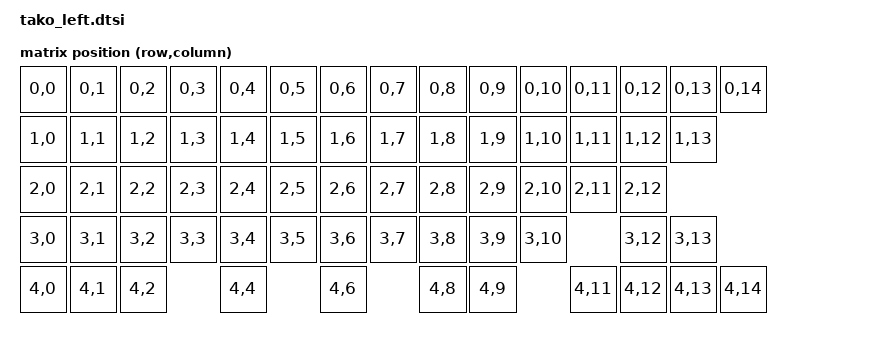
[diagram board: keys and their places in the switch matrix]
/*
 * Copyright (c) 2023 Sviatoslav Bulbakha
 *
 * SPDX-License-Identifier: MIT
 */

#include <dt-bindings/zmk/matrix_transform.h>
#include <physical_layouts.dtsi>

/ {

  chosen {
    //zmk,kscan = <&kscan0>;
    zmk,matrix_transform = &default_transform;
  };

  layout_0: layout_0 {
        compatible = "zmk,physical-layout";
        display-name = "Layout 0";

        keys  //                     w   h    x    y     rot    rx    ry
            = <&key_physical_attrs 100 100  250    0       0     0     0>
            , <&key_physical_attrs 100 100  350    0       0     0     0>
            , <&key_physical_attrs 100 100  450    0       0     0     0>
            , <&key_physical_attrs 100 100  550    0       0     0     0>
            , <&key_physical_attrs 100 100  650    0       0     0     0>
            , <&key_physical_attrs 100 100  750    0       0     0     0>
            , <&key_physical_attrs 100 100  850    0       0     0     0>
            , <&key_physical_attrs 100 100  950    0       0     0     0>
            , <&key_physical_attrs 100 100 1050    0       0     0     0>
            , <&key_physical_attrs 100 100 1150    0       0     0     0>
            , <&key_physical_attrs 100 100 1250    0       0     0     0>
            , <&key_physical_attrs 100 100 1350    0       0     0     0>
            , <&key_physical_attrs 100 100 1450    0       0     0     0>
            , <&key_physical_attrs 100 100 1550    0       0     0     0>
            , <&key_physical_attrs 100 100 1650    0       0     0     0>
            , <&key_physical_attrs 150 100  250  100       0     0     0>
            , <&key_physical_attrs 100 100  400  100       0     0     0>
            , <&key_physical_attrs 100 100  500  100       0     0     0>
            , <&key_physical_attrs 100 100  600  100       0     0     0>
            , <&key_physical_attrs 100 100  700  100       0     0     0>
            , <&key_physical_attrs 100 100  800  100       0     0     0>
            , <&key_physical_attrs 100 100  900  100       0     0     0>
            , <&key_physical_attrs 100 100 1000  100       0     0     0>
            , <&key_physical_attrs 100 100 1100  100       0     0     0>
            , <&key_physical_attrs 100 100 1200  100       0     0     0>
            , <&key_physical_attrs 100 100 1300  100       0     0     0>
            , <&key_physical_attrs 100 100 1400  100       0     0     0>
            , <&key_physical_attrs 100 100 1500  100       0     0     0>
            , <&key_physical_attrs 150 100 1600  100       0     0     0>
            , <&key_physical_attrs 175 100  250  200       0     0     0>
            , <&key_physical_attrs 100 100  425  200       0     0     0>
            , <&key_physical_attrs 100 100  525  200       0     0     0>
            , <&key_physical_attrs 100 100  625  200       0     0     0>
            , <&key_physical_attrs 100 100  725  200       0     0     0>
            , <&key_physical_attrs 100 100  825  200       0     0     0>
            , <&key_physical_attrs 100 100  925  200       0     0     0>
            , <&key_physical_attrs 100 100 1025  200       0     0     0>
            , <&key_physical_attrs 100 100 1125  200       0     0     0>
            , <&key_physical_attrs 100 100 1225  200       0     0     0>
            , <&key_physical_attrs 100 100 1325  200       0     0     0>
            , <&key_physical_attrs 100 100 1425  200       0     0     0>
            , <&key_physical_attrs 225 100 1525  200       0     0     0>
            , <&key_physical_attrs 225 100  250  300       0     0     0>
            , <&key_physical_attrs 100 100  475  300       0     0     0>
            , <&key_physical_attrs 100 100  575  300       0     0     0>
            , <&key_physical_attrs 100 100  675  300       0     0     0>
            , <&key_physical_attrs 100 100  775  300       0     0     0>
            , <&key_physical_attrs 100 100  875  300       0     0     0>
            , <&key_physical_attrs 100 100  975  300       0     0     0>
            , <&key_physical_attrs 100 100 1075  300       0     0     0>
            , <&key_physical_attrs 100 100 1175  300       0     0     0>
            , <&key_physical_attrs 100 100 1275  300       0     0     0>
            , <&key_physical_attrs 100 100 1375  300       0     0     0>
            , <&key_physical_attrs 175 100 1475  300       0     0     0>
            , <&key_physical_attrs 100 100 1650  300       0     0     0>
            , <&key_physical_attrs 150 100  250  400       0     0     0>
            , <&key_physical_attrs 100 100  400  400       0     0     0>
            , <&key_physical_attrs 150 100  500  400       0     0     0>
            , <&key_physical_attrs 300 100  650  400       0     0     0>
            , <&key_physical_attrs 300 100  950  400       0     0     0>
            , <&key_physical_attrs 100 100 1250  400       0     0     0>
            , <&key_physical_attrs 100 100 1350  400       0     0     0>
            , <&key_physical_attrs 100 100 1450  400       0     0     0>
            , <&key_physical_attrs 100 100 1550  400       0     0     0>
            , <&key_physical_attrs 100 100 1650  400       0     0     0>
            ;
    };

    position_map {
        compatible = "zmk,physical-layout-position-map";

        layout_0 {
            physical-layout = <&layout_0>;
            positions
                = < 0  1  2  3  4  5  6  7  8  9 10 11 12 13 14 15>
                , <16 17 18 19 20 21 22 23 24 25 26 27 28>
                , <29 30 31 32 33 34 35 36 37 38 39 40 41>
                , <42 43 44 45 46 47 48 49 50 51 52 53 54>
                , <55 56 57 58 59 60 61 62 63 64>
                ;
        };
  };

  default_transform: keymap_transform_0 {
    compatible = "zmk,matrix-transform";
    columns = <15>;
    rows = <5>;
    map = <
    RC(0,0) RC(0,1) RC(0,2) RC(0,3) RC(0,4) RC(0,5) RC(0,6) RC(0,7) RC(0,8) RC(0,9) RC(0,10) RC(0,11) RC(0,12) RC(0,13) RC(0,14)
    RC(1,0) RC(1,1) RC(1,2) RC(1,3) RC(1,4) RC(1,5) RC(1,6) RC(1,7) RC(1,8) RC(1,9) RC(1,10) RC(1,11) RC(1,12) RC(1,13)
    RC(2,0) RC(2,1) RC(2,2) RC(2,3) RC(2,4) RC(2,5) RC(2,6) RC(2,7) RC(2,8) RC(2,9) RC(2,10) RC(2,11) RC(2,12)
    RC(3,0) RC(3,1) RC(3,2) RC(3,3) RC(3,4) RC(3,5) RC(3,6) RC(3,7) RC(3,8) RC(3,9) RC(3,10)          RC(3,12) RC(3,13)
    RC(4,0) RC(4,1) RC(4,2)         RC(4,4)         RC(4,6)         RC(4,8) RC(4,9)          RC(4,11) RC(4,12) RC(4,13) RC(4,14)      
    >;
  };
};


&i2c0 {
  status = "disabled";
};

&i2c1 {
  status = "disabled";
};

&layout_0{
	transform = <&default_transform>;
	kscan = <&kscan0>;
};

zephyr_udc0: &usbd { 
    compatible = "nordic,nrf-usbd"; 
    status = "okay"; 
};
